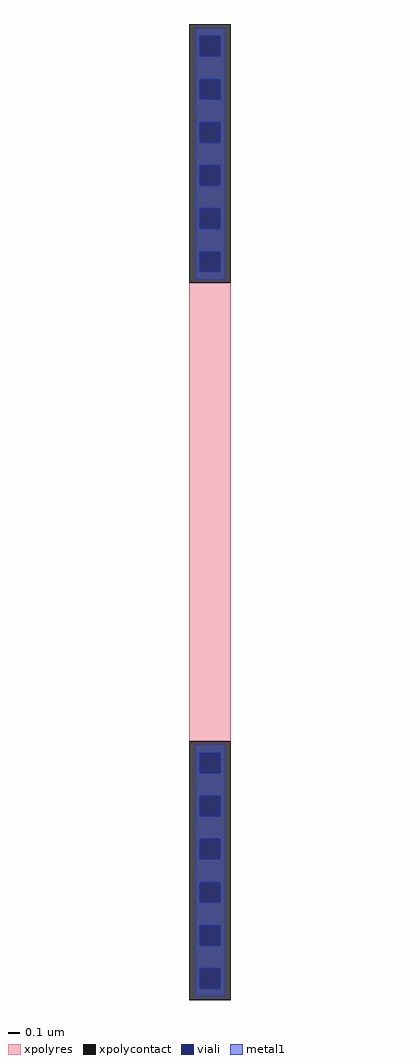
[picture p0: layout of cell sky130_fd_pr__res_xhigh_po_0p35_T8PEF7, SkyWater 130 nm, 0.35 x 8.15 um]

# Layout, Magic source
magic
tech sky130A
magscale 1 2
<< xpolycontact >>
rect -35 383 35 815
rect -35 -815 35 -383
<< xpolyres >>
rect -35 -383 35 383
<< viali >>
rect -17 761 17 795
rect -17 689 17 723
rect -17 617 17 651
rect -17 545 17 579
rect -17 473 17 507
rect -17 401 17 435
rect -17 -436 17 -402
rect -17 -508 17 -474
rect -17 -580 17 -546
rect -17 -652 17 -618
rect -17 -724 17 -690
rect -17 -796 17 -762
<< metal1 >>
rect -25 795 25 809
rect -25 761 -17 795
rect 17 761 25 795
rect -25 723 25 761
rect -25 689 -17 723
rect 17 689 25 723
rect -25 651 25 689
rect -25 617 -17 651
rect 17 617 25 651
rect -25 579 25 617
rect -25 545 -17 579
rect 17 545 25 579
rect -25 507 25 545
rect -25 473 -17 507
rect 17 473 25 507
rect -25 435 25 473
rect -25 401 -17 435
rect 17 401 25 435
rect -25 388 25 401
rect -25 -402 25 -388
rect -25 -436 -17 -402
rect 17 -436 25 -402
rect -25 -474 25 -436
rect -25 -508 -17 -474
rect 17 -508 25 -474
rect -25 -546 25 -508
rect -25 -580 -17 -546
rect 17 -580 25 -546
rect -25 -618 25 -580
rect -25 -652 -17 -618
rect 17 -652 25 -618
rect -25 -690 25 -652
rect -25 -724 -17 -690
rect 17 -724 25 -690
rect -25 -762 25 -724
rect -25 -796 -17 -762
rect 17 -796 25 -762
rect -25 -809 25 -796
<< end >>
